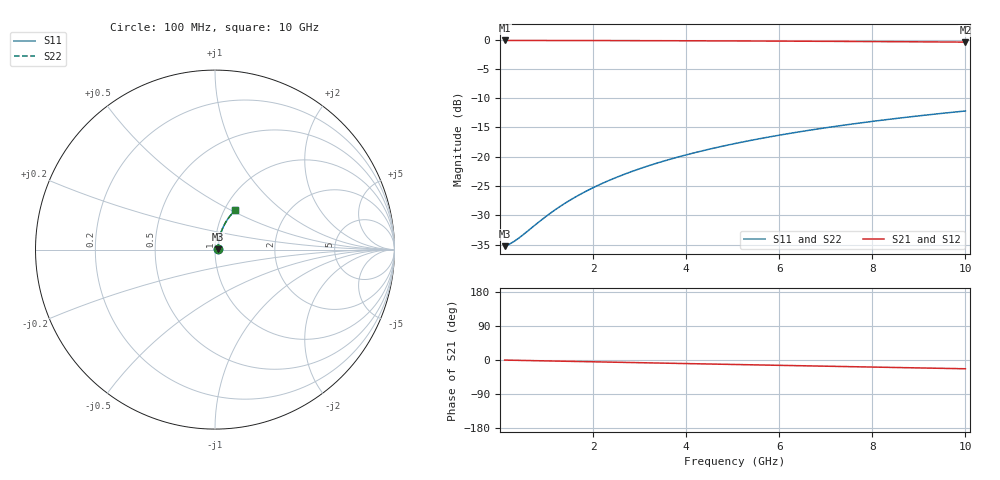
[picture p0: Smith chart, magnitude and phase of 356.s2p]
# Hz S RI R 50.00
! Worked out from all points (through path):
!   100 points, 100 MHz to 10 GHz, reference 50 ohm
!   highest |S21| = -0.15 dB at 100 MHz (marker M1); lowest = -0.4 dB at 10 GHz (marker M2)
!   group delay of S21, straight-line fit = 6.43 ps
!   lowest |S11| = -35.3 dB at 100 MHz (marker M3), VSWR 1.04, Z = 51.7 + j0.259 ohm
!   |S11| at or under -10 dB: start of sweep to end of sweep
!   |S22| runs from -35.3 to -12.2 dB; largest |S21 - S12| = 0
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1e8  0.017 0.0025  0.983 -0.00405  0.983 -0.00405  0.017 0.0025
2e8  0.0172 0.00501  0.9828 -0.0081  0.9828 -0.0081  0.0172 0.00501
3e8  0.0173 0.00751  0.9827 -0.0122  0.9827 -0.0122  0.0173 0.00751
4e8  0.0175 0.01  0.9825 -0.0162  0.9825 -0.0162  0.0175 0.01
9e8  0.0184 0.0225  0.9815 -0.0364  0.9815 -0.0364  0.0184 0.0225
1.2e9  0.0191 0.03  0.9807 -0.0485  0.9807 -0.0485  0.0191 0.03
1.5e9  0.02 0.0374  0.9797 -0.0606  0.9797 -0.0606  0.02 0.0374
1.8e9  0.0211 0.0448  0.9785 -0.0727  0.9785 -0.0727  0.0211 0.0448
2.1e9  0.0224 0.0522  0.9771 -0.0847  0.9771 -0.0847  0.0224 0.0522
2.5e9  0.0243 0.062  0.9749 -0.1007  0.9749 -0.1007  0.0243 0.062
2.9e9  0.0266 0.0716  0.9723 -0.1165  0.9723 -0.1165  0.0266 0.0716
3.4e9  0.0299 0.0836  0.9687 -0.1363  0.9687 -0.1363  0.0299 0.0836
3.8e9  0.0328 0.0931  0.9654 -0.1519  0.9654 -0.1519  0.0328 0.0931
4.2e9  0.0361 0.1024  0.9617 -0.1675  0.9617 -0.1675  0.0361 0.1024
4.6e9  0.0396 0.1116  0.9577 -0.1829  0.9577 -0.1829  0.0396 0.1116
5.1e9  0.0445 0.1229  0.9523 -0.2019  0.9523 -0.2019  0.0445 0.1229
5.9e9  0.0531 0.1405  0.9426 -0.232  0.9426 -0.232  0.0531 0.1405
6.7e9  0.0629 0.1574  0.9316 -0.2613  0.9316 -0.2613  0.0629 0.1574
7.5e9  0.0736 0.1735  0.9195 -0.2898  0.9195 -0.2898  0.0736 0.1735
8.4e9  0.0867 0.1907  0.9046 -0.321  0.9046 -0.321  0.0867 0.1907
9.2e9  0.0993 0.205  0.8903 -0.3478  0.8903 -0.3478  0.0993 0.205
1e10  0.1126 0.2184  0.875 -0.3737  0.875 -0.3737  0.1126 0.2184
